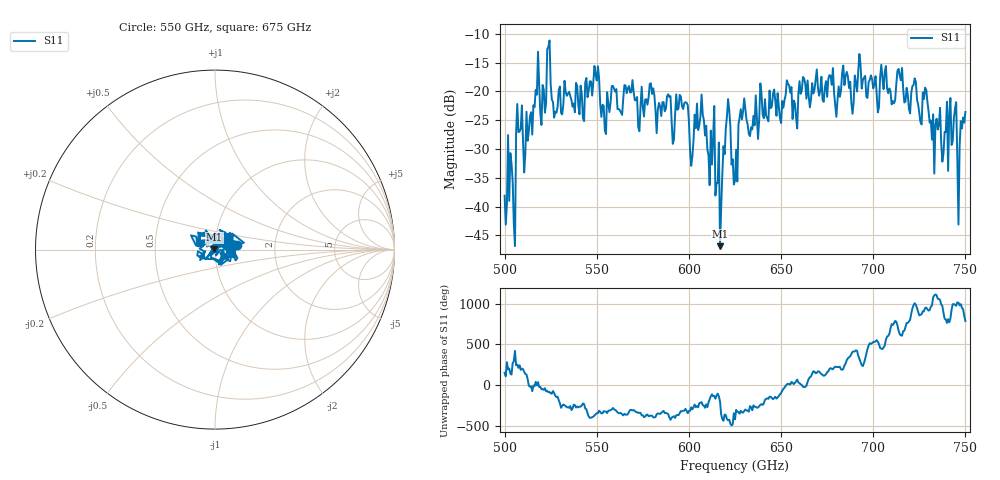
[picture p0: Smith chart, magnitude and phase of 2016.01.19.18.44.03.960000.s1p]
!Created with skrf (http://scikit-rf.org).
# GHz S RI R 50.0
!freq ReS11 ImS11
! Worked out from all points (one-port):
!   401 points, 500 GHz to 750 GHz, reference 50 ohm
!   lowest |S11| = -46.9 dB at 616.9 GHz (marker M1), VSWR 1.01, Z = 49.6 + j0.179 ohm
!   |S11| at or under -10 dB: start of sweep to end of sweep
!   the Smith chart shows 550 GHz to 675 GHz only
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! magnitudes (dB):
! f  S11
! 500 GHz  -38.1
! 503.1 GHz  -30.7
! 505 GHz  -43.0
! 508.1 GHz  -27.0
! 511.9 GHz  -23.5
! 523.8 GHz  -12.2
! 526.9 GHz  -24.5
! 531.2 GHz  -24.0
! 550 GHz  -18.1
! 553.8 GHz  -22.5
! 562.5 GHz  -23.3
! 593.8 GHz  -23.2
! 598.8 GHz  -22.0
! 601.2 GHz  -32.9
! 608.1 GHz  -25.0
! 616.9 GHz  -46.9
! 621.2 GHz  -21.3
! 625 GHz  -35.5
! 629.4 GHz  -23.5
! 656.2 GHz  -24.8
! 687.5 GHz  -18.3
! 714.4 GHz  -17.2
! 718.8 GHz  -20.6
! 728.1 GHz  -19.3
! 738.1 GHz  -30.8
! 743.8 GHz  -24.7
! 746.9 GHz  -29.5
! 750 GHz  -23.6
